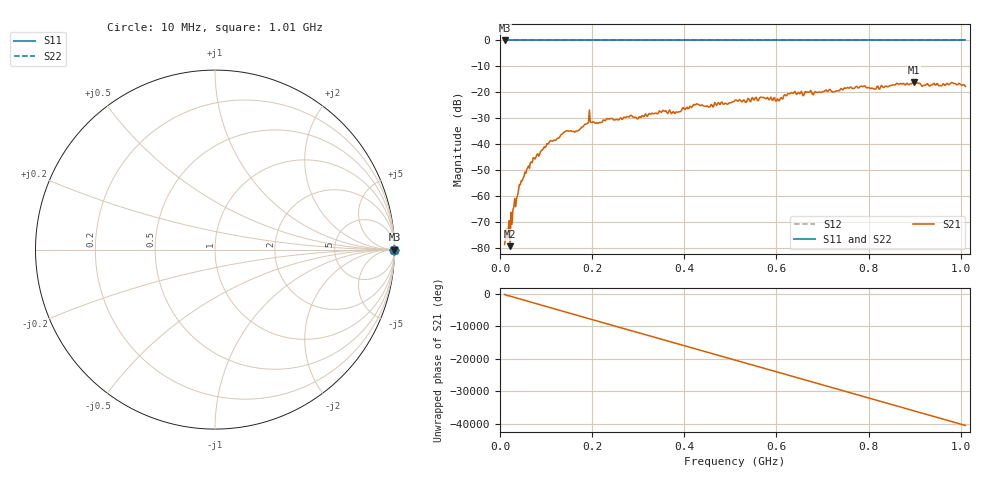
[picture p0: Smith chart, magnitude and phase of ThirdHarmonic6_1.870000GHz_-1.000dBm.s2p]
! 8/16/2025 10:36:25 PM
! C:\ANRITSUVNA\TEMP\TEMP.S2P
! CHANNEL.1
! TR.MEASUREMENT
! RAW.DATA
! RF.CORRECTION.OFF
! AVERAGING.OFF
! IF.BANDWIDTH: 5KHZ
! SWEEPTYPE:  FREQ.SWEEP(Linear)
! Reference Plane Port Info
! PORT:  PORT1  PORT2
! DISTANCE:  0  m  0  m
! TIME:  0  s  0  s
! PHASE.OFFSET:  0  deg.  0  deg.
! LOSS:  0  dB  0  dB
! REF.LOSS:  0  dB  0  dB
! REF.FREQ:  0  Hz  0  Hz
! Power Info
! POWER:  -20  dBm  -20  dBm
! EFF.POWER:  -20  dBm  -20  dBm
! SOURCE.ATTEN:  0  dB  0  dB
! TEST.ATTEN:  0  dB  0  dB
# GHZ S RI R 50.0
! FREQ.GHZ  S11RE  S11IM  S21RE  S21IM  S12RE  S12IM  S22RE  S22IM
!; PortSelection: Port_12
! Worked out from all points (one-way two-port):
!   501 points, 10 MHz to 1.01 GHz, reference 50 ohm
!   highest |S21| = -16.09 dB at 898 MHz (marker M1); lowest = -79.3 dB at 22 MHz (marker M2)
!   lowest |S11| = 0.0 dB at 10 MHz (marker M3)
!   |S11| at or under -10 dB: nowhere
!   |S22| runs from 0.0 to 0.0 dB; largest |S21 - S12| = 1.1
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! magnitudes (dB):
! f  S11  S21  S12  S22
! 10 MHz  0.0  -78.6  0.0  0.0
! 22 MHz  0.0  -79.3  0.0  0.0
! 26 MHz  0.0  -70.8  0.0  0.0
! 28 MHz  0.0  -65.3  0.0  0.0
! 44 MHz  0.0  -55.6  0.0  0.0
! 70 MHz  0.0  -47.1  0.0  0.0
! 106 MHz  0.0  -39.5  0.0  0.0
! 142 MHz  0.0  -35.1  0.0  0.0
! 178 MHz  0.0  -33.3  0.0  0.0
! 194 MHz  0.0  -26.8  0.0  0.0
! 216 MHz  0.0  -31.6  0.0  0.0
! 344 MHz  0.0  -27.9  0.0  0.0
! 382 MHz  0.0  -27.5  0.0  0.0
! 424 MHz  0.0  -24.8  0.0  0.0
! 510 MHz  0.0  -23.0  0.0  0.0
! 568 MHz  0.0  -22.0  0.0  0.0
! 602 MHz  0.0  -22.5  0.0  0.0
! 636 MHz  0.0  -20.4  0.0  0.0
! 678 MHz  0.0  -20.8  0.0  0.0
! 844 MHz  0.0  -17.6  0.0  0.0
! 898 MHz  0.0  -16.1  0.0  0.0
! 1.01 GHz  0.0  -17.7  0.0  0.0
